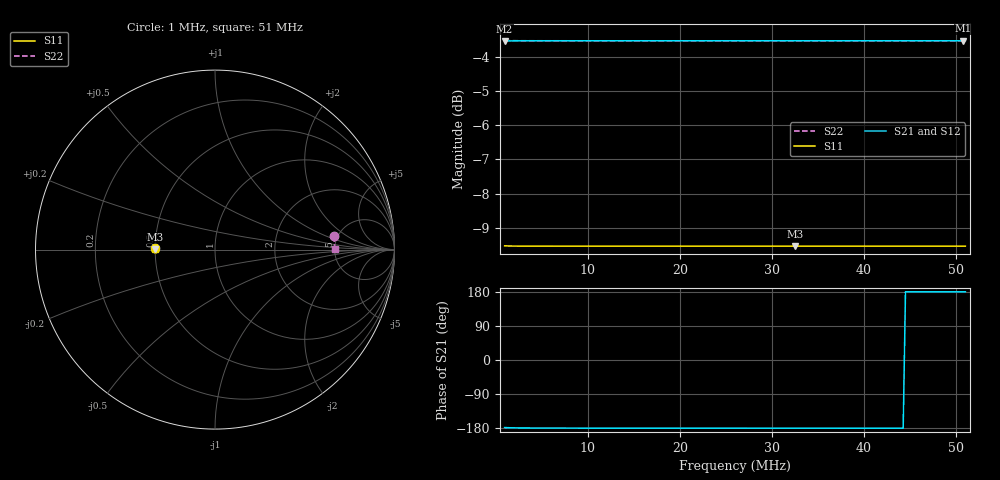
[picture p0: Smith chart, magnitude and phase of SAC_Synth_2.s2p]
# MHz S RI R 50
! S-Parameters data
! Freq  reS11  imS11  reS21  imS21  reS12  imS12  reS22  imS22
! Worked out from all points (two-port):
!   201 points, 1 MHz to 51 MHz, reference 50 ohm
!   highest |S21| = -3.52 dB at 50.75 MHz (marker M1); lowest = -3.5 dB at 1 MHz (marker M2)
!   |S21| within 3 dB of the highest: start of sweep to end of sweep
!   lowest |S11| = -9.5 dB at 32.5 MHz (marker M3), VSWR 2.00, Z = 25 + j0.0561 ohm
!   |S11| at or under -10 dB: nowhere
!   |S22| runs from -3.5 to -3.5 dB; largest |S21 - S12| = 1e-10
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1  -0.3336 0.00885  -0.6657 -0.022  -0.6657 -0.022  0.6631 0.075
1.25  -0.3335 0.00709  -0.666 -0.0176  -0.666 -0.0176  0.6644 0.06
1.5  -0.3335 0.00592  -0.6662 -0.0147  -0.6662 -0.0147  0.6651 0.0501
1.75  -0.3334 0.00509  -0.6663 -0.0126  -0.6663 -0.0126  0.6655 0.0429
2  -0.3334 0.00446  -0.6664 -0.011  -0.6664 -0.011  0.6658 0.0376
2.25  -0.3334 0.00398  -0.6665 -0.0098  -0.6665 -0.0098  0.666 0.0334
2.5  -0.3334 0.00359  -0.6665 -0.00881  -0.6665 -0.00881  0.6661 0.0301
3  -0.3334 0.00301  -0.6666 -0.00733  -0.6666 -0.00733  0.6663 0.0251
3.5  -0.3334 0.0026  -0.6666 -0.00628  -0.6666 -0.00628  0.6664 0.0215
4  -0.3334 0.0023  -0.6666 -0.00548  -0.6666 -0.00548  0.6664 0.0188
4.5  -0.3333 0.00207  -0.6666 -0.00486  -0.6666 -0.00486  0.6665 0.0167
5.25  -0.3333 0.0018  -0.6666 -0.00415  -0.6666 -0.00415  0.6665 0.0143
7  -0.3333 0.00142  -0.6666 -0.00308  -0.6666 -0.00308  0.6666 0.0108
9.5  -0.3333 0.00114  -0.6667 -0.00222  -0.6667 -0.00222  0.6666 0.00796
13  -0.3333 0.000971  -0.6667 -0.00156  -0.6667 -0.00156  0.6666 0.00585
17.75  -0.3333 0.000895  -0.6667 -0.00105  -0.6667 -0.00105  0.6667 0.00433
26  -0.3333 0.000921  -0.6667 -0.00056  -0.6667 -0.00056  0.6667 0.00304
32.5  -0.3333 0.000998  -0.6667 -0.000317  -0.6667 -0.000317  0.6667 0.00249
34.5  -0.3333 0.00103  -0.6667 -0.000255  -0.6667 -0.000255  0.6667 0.00237
42.75  -0.3333 0.00116  -0.6667 -3.96e-05  -0.6667 -3.96e-05  0.6667 0.002
50.75  -0.3333 0.00131  -0.6667 0.000131  -0.6667 0.000131  0.6667 0.00176
51  -0.3333 0.00131  -0.6667 0.000136  -0.6667 0.000136  0.6667 0.00176
